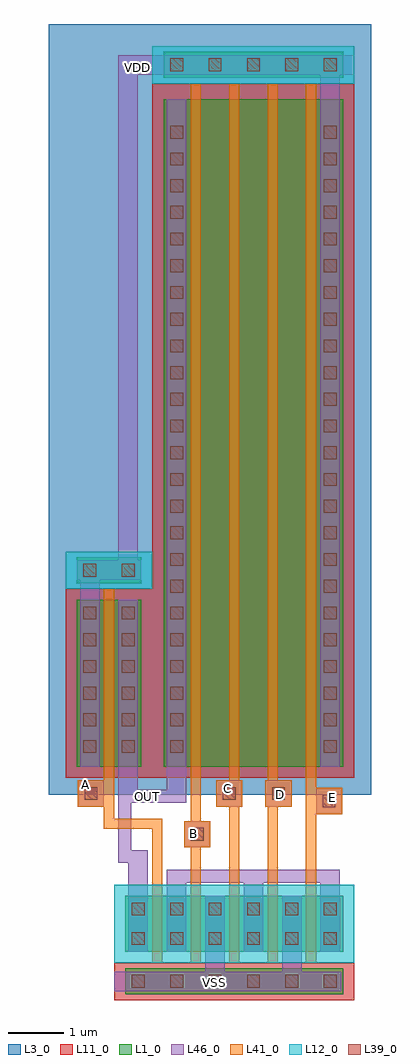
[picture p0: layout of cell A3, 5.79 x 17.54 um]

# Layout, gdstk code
import gdstk
lib = gdstk.Library(unit=1e-6, precision=1e-09)
def R(c, l, rs):  # rectangles x0, y0, x1, y1
    for r in rs: c.add(gdstk.rectangle(r[:2], r[2:], *l))
def A(c, l, x, y, w, h, nx, ny, dx, dy):  # array of equal rectangles
    R(c, l, [(x+i*dx, y+j*dy, x+i*dx+w, y+j*dy+h) for i in range(nx) for j in range(ny)])
L1_0 = (1, 0)
L3_0 = (3, 0)
L11_0 = (11, 0)
L12_0 = (12, 0)
L39_0 = (39, 0)
L41_0 = (41, 0)
L46_0 = (46, 0)

c_a3 = lib.new_cell('A3')
R(c_a3, L1_0, [(10.555,-9.97,14.475,-9.5), (10.555,-9.2,14.475,-8.2), (9.685,-5.88,10.845,-2.88), (11.245,-5.88,14.475,6.12), (9.685,-2.58,10.845,-2.11), (11.245,6.5,14.475,6.97)])
R(c_a3, L3_0, [(9.185,-6.38,14.975,7.47)])
R(c_a3, L11_0, [(10.355,-10.07,14.675,-9.4), (9.485,-6.08,11.045,-2.68), (11.045,-6.08,14.675,6.4)])
R(c_a3, L12_0, [(10.355,-9.4,14.675,-8), (9.485,-2.68,11.045,-2.01), (11.045,6.4,14.675,7.07)])
A(c_a3, L39_0, 10.675, -9.85, 0.23, 0.23, 6, 2, 0.69, 0.77)
A(c_a3, L39_0, 10.675, -8.55, 0.23, 0.23, 6, 1, 0.69, 0)
A(c_a3, L39_0, 9.805, -5.63, 0.23, 0.23, 1, 6, 0, 0.48)
A(c_a3, L39_0, 10.495, -5.63, 0.23, 0.23, 1, 6, 0, 0.48)
A(c_a3, L39_0, 11.365, -5.63, 0.23, 0.23, 1, 24, 0, 0.48)
A(c_a3, L39_0, 14.125, -5.63, 0.23, 0.23, 1, 24, 0, 0.48)
A(c_a3, L39_0, 11.365, 6.62, 0.23, 0.23, 5, 1, 0.69, 0)
R(c_a3, L39_0, [(11.735,-7.205,11.965,-6.975), (14.105,-6.61,14.335,-6.38), (9.825,-6.475,10.055,-6.245), (12.31,-6.475,12.54,-6.245), (13.195,-6.475,13.425,-6.245), (9.805,-2.46,10.035,-2.23), (10.495,-2.46,10.725,-2.23)])
R(c_a3, L41_0, [(11.045,-9.4,11.225,-6.99), (11.735,-9.4,11.915,-6.595), (12.425,-9.4,12.605,-8), (13.115,-9.4,13.295,-6.595), (13.805,-9.4,13.985,-6.26), (12.425,-8,12.605,6.4), (11.615,-7.325,12.085,-6.855), (10.175,-6.99,11.225,-6.81), (10.175,-6.81,10.355,-2.68), (13.985,-6.73,14.455,-6.26), (9.705,-6.595,10.175,-6.125), (11.735,-6.595,11.915,6.4), (12.19,-6.595,12.66,-6.125), (13.075,-6.595,13.545,-6.125), (13.115,-6.27,13.295,6.4), (13.805,-6.26,13.985,6.4)])
A(c_a3, L46_0, 11.305, -9.2, 0.35, 1.24, 3, 1, 1.38, 0)
R(c_a3, L46_0, [(10.355,-9.91,14.44,-9.56), (11.995,-9.91,12.345,-8.2), (13.375,-9.91,13.725,-8.2), (10.615,-9.2,10.965,-7.605), (11.305,-7.96,14.415,-7.73), (10.435,-7.605,10.965,-7.375), (10.435,-7.375,10.665,-6.525), (11.615,-7.325,12.085,-6.855), (13.985,-6.73,14.455,-6.26), (9.705,-6.595,10.175,-6.125), (12.19,-6.595,12.66,-6.125), (13.075,-6.595,13.545,-6.125), (10.435,-6.525,11.305,-6.295), (11.305,-6.525,11.655,6.12), (10.435,-6.295,10.785,-2.88), (9.745,-5.88,10.095,-2.17), (14.065,-5.88,14.415,6.91), (9.685,-2.52,10.845,-2.17), (10.435,-2.17,10.785,6.56), (10.435,6.56,14.675,6.91)])
c_a3.add(gdstk.Label('E', (14.29,-6.43), layer=101, texttype=0))
c_a3.add(gdstk.Label('D', (13.35,-6.38), layer=101, texttype=0))
c_a3.add(gdstk.Label('C', (12.395,-6.275), layer=101, texttype=0))
c_a3.add(gdstk.Label('B', (11.78,-7.07), layer=101, texttype=0))
c_a3.add(gdstk.Label('A', (9.845,-6.205), layer=101, texttype=0))
c_a3.add(gdstk.Label('VSS', (12.16,-9.76), layer=101, texttype=0))
c_a3.add(gdstk.Label('VDD', (10.78,6.68), layer=101, texttype=0))
c_a3.add(gdstk.Label('OUT', (10.965,-6.42), layer=101, texttype=0))

lib.write_gds('A3.gds')
